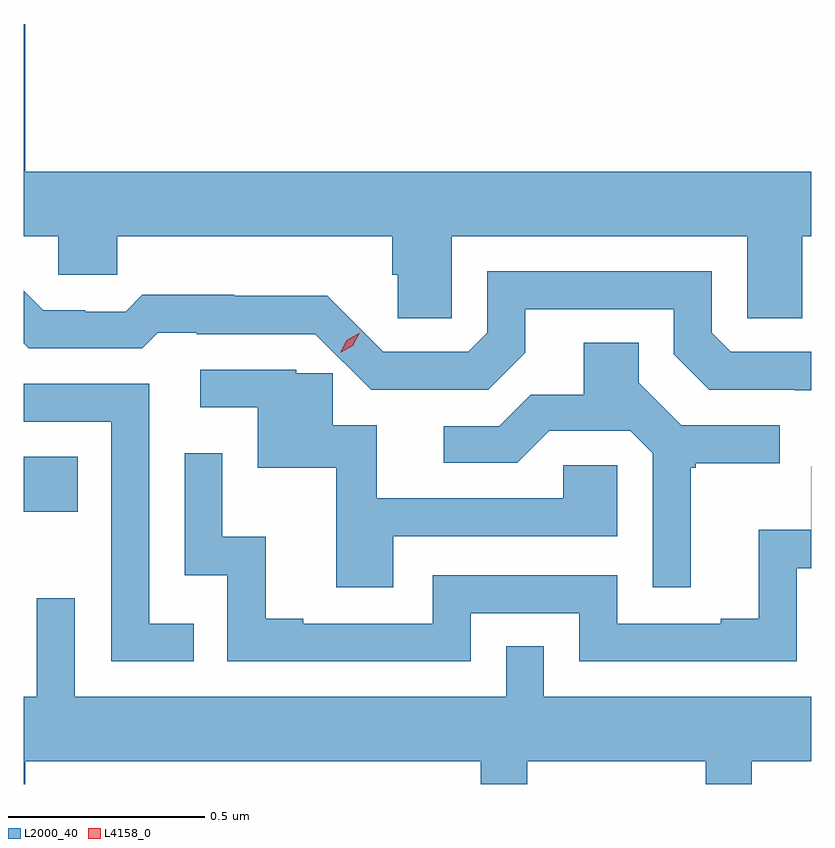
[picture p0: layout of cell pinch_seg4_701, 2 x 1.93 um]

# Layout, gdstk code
import gdstk
lib = gdstk.Library(unit=1e-6, precision=1e-09)
def R(c, l, rs):  # rectangles x0, y0, x1, y1
    for r in rs: c.add(gdstk.rectangle(r[:2], r[2:], *l))
def P(c, l, *ps):  # polygons
    for p in ps: c.add(gdstk.Polygon(p, *l))
L2000_40 = (2000, 40)
L4158_0 = (4158, 0)

pinch_seg4_701 = lib.new_cell('pinch_seg4_701')
R(pinch_seg4_701, L2000_40, [(1124.207,750.833,1124.345,750.973)])
P(pinch_seg4_701, L2000_40, [(1125.294,751.532),(1126.044,751.532),(1126.044,751.324),(1126.183,751.324),(1126.183,751.532),(1126.207,751.532),(1126.207,751.696),(1124.212,751.696),(1124.212,752.071),(1124.207,752.071),(1124.207,751.532),(1124.295,751.532),(1124.295,751.434),(1124.445,751.434),(1124.445,751.532),(1125.143,751.532),(1125.143,751.434),(1125.157,751.434),(1125.157,751.324),(1125.294,751.324)],
  [(1126.207,751.239),(1126.002,751.239),(1125.954,751.287),(1125.954,751.443),(1125.384,751.443),(1125.384,751.287),(1125.336,751.239),(1125.12,751.239),(1124.978,751.381),(1124.742,751.381),(1124.742,751.384),(1124.509,751.384),(1124.467,751.341),(1124.364,751.341),(1124.364,751.344),(1124.257,751.344),(1124.207,751.394),(1124.207,751.261),(1124.22,751.248),(1124.509,751.248),(1124.548,751.287),(1124.647,751.287),(1124.647,751.284),(1124.948,751.284),(1125.089,751.143),(1125.387,751.143),(1125.481,751.237),(1125.481,751.347),(1125.858,751.347),(1125.858,751.233),(1125.948,751.143),(1126.164,751.143),(1126.164,751.142),(1126.207,751.142)],
  [(1125.901,750.945),(1125.913,750.945),(1125.913,750.956),(1126.126,750.956),(1126.126,751.053),(1125.876,751.053),(1125.769,751.16),(1125.769,751.262),(1125.629,751.262),(1125.629,751.13),(1125.494,751.13),(1125.414,751.05),(1125.273,751.05),(1125.273,750.957),(1125.46,750.957),(1125.541,751.038),(1125.747,751.038),(1125.804,750.981),(1125.804,750.642),(1125.901,750.642)],
  [(1125.145,750.771),(1125.714,750.771),(1125.714,750.951),(1125.577,750.951),(1125.577,750.867),(1125.103,750.867),(1125.103,751.053),(1124.992,751.053),(1124.992,751.184),(1124.899,751.184),(1124.899,751.194),(1124.655,751.194),(1124.655,751.098),(1124.801,751.098),(1124.801,750.945),(1125.001,750.945),(1125.001,750.642),(1125.145,750.642)],
  [(1124.639,750.549),(1124.526,750.549),(1124.526,751.158),(1124.207,751.158),(1124.207,751.062),(1124.43,751.062),(1124.43,750.453),(1124.639,750.453)],
  [(1125.342,750.576),(1125.618,750.576),(1125.618,750.453),(1126.17,750.453),(1126.17,750.689),(1126.207,750.689),(1126.207,750.948),(1126.206,750.948),(1126.206,750.787),(1126.073,750.787),(1126.073,750.562),(1125.977,750.562),(1125.977,750.549),(1125.714,750.549),(1125.714,750.672),(1125.246,750.672),(1125.246,750.549),(1124.917,750.549),(1124.917,750.562),(1124.822,750.562),(1124.822,750.77),(1124.712,750.77),(1124.712,750.982),(1124.616,750.982),(1124.616,750.672),(1124.724,750.672),(1124.724,750.453),(1125.342,750.453)],
  [(1124.212,750.2),(1125.367,750.2),(1125.367,750.142),(1125.485,750.142),(1125.485,750.2),(1125.938,750.2),(1125.938,750.142),(1126.055,750.142),(1126.055,750.2),(1126.207,750.2),(1126.207,750.364),(1125.528,750.364),(1125.528,750.491),(1125.432,750.491),(1125.432,750.364),(1124.337,750.364),(1124.337,750.613),(1124.24,750.613),(1124.24,750.364),(1124.207,750.364),(1124.207,750.142),(1124.212,750.142)])
P(pinch_seg4_701, L4158_0, [(1125.011,751.236),(1125.011,751.236),(1125.028,751.268),(1125.06,751.287),(1125.06,751.287),(1125.06,751.287),(1125.043,751.254),(1125.011,751.236)])

lib.write_gds('pinch_seg4_701.gds')
